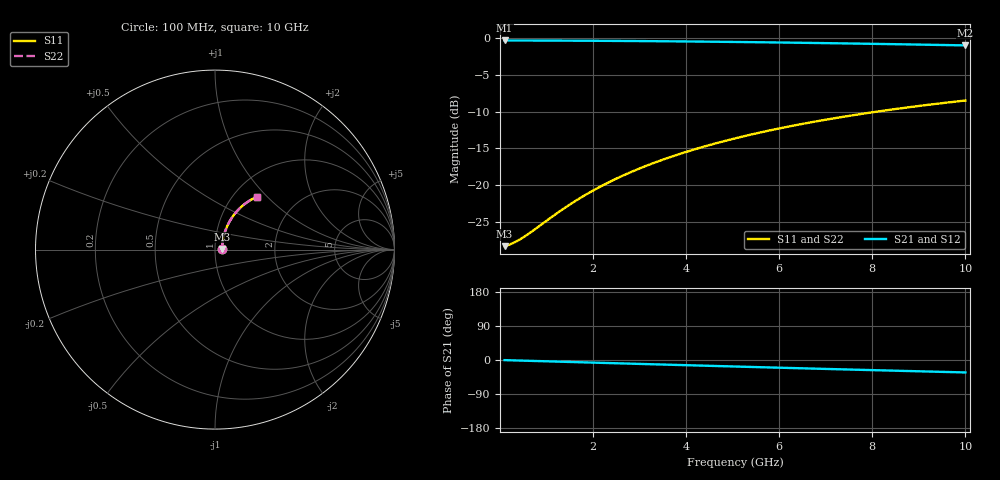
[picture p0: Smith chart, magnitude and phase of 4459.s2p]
# Hz S RI R 50.00
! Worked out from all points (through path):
!   100 points, 100 MHz to 10 GHz, reference 50 ohm
!   highest |S21| = -0.34 dB at 100 MHz (marker M1); lowest = -1.0 dB at 10 GHz (marker M2)
!   group delay of S21, straight-line fit = 9.15 ps
!   lowest |S11| = -28.3 dB at 100 MHz (marker M3), VSWR 1.08, Z = 54 + j0.426 ohm
!   |S11| at or under -10 dB: start of sweep to 8.116 GHz
!   |S22| runs from -28.3 to -8.5 dB; largest |S21 - S12| = 0
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1e8  0.0383 0.00394  0.9617 -0.0058  0.9617 -0.0058  0.0383 0.00394
2e8  0.0386 0.00787  0.9614 -0.0116  0.9614 -0.0116  0.0386 0.00787
3e8  0.0389 0.0118  0.9611 -0.0174  0.9611 -0.0174  0.0389 0.0118
5e8  0.0395 0.0196  0.9604 -0.029  0.9604 -0.029  0.0395 0.0196
7e8  0.0403 0.0275  0.9596 -0.0405  0.9596 -0.0405  0.0403 0.0275
1.3e9  0.0436 0.0507  0.9561 -0.075  0.9561 -0.075  0.0436 0.0507
1.6e9  0.0458 0.0623  0.9537 -0.0921  0.9537 -0.0921  0.0458 0.0623
1.8e9  0.0475 0.0699  0.9519 -0.1035  0.9519 -0.1035  0.0475 0.0699
2.2e9  0.0514 0.085  0.9477 -0.126  0.9477 -0.126  0.0514 0.085
2.6e9  0.056 0.0998  0.9428 -0.1483  0.9428 -0.1483  0.056 0.0998
3e9  0.0612 0.1144  0.9371 -0.1704  0.9371 -0.1704  0.0612 0.1144
3.4e9  0.0672 0.1286  0.9307 -0.1921  0.9307 -0.1921  0.0672 0.1286
3.8e9  0.0737 0.1425  0.9237 -0.2134  0.9237 -0.2134  0.0737 0.1425
4.2e9  0.0809 0.156  0.9159 -0.2344  0.9159 -0.2344  0.0809 0.156
4.6e9  0.0886 0.169  0.9076 -0.255  0.9076 -0.255  0.0886 0.169
5.1e9  0.0991 0.1847  0.8962 -0.2801  0.8962 -0.2801  0.0991 0.1847
5.9e9  0.1174 0.2083  0.8763 -0.3187  0.8763 -0.3187  0.1174 0.2083
6.7e9  0.1376 0.2297  0.8543 -0.3552  0.8543 -0.3552  0.1376 0.2297
7.5e9  0.1592 0.249  0.8306 -0.3896  0.8306 -0.3896  0.1592 0.249
8.4e9  0.1851 0.2679  0.8021 -0.4257  0.8021 -0.4257  0.1851 0.2679
9.2e9  0.209 0.2823  0.7755 -0.4553  0.7755 -0.4553  0.209 0.2823
1e10  0.2337 0.2943  0.748 -0.4826  0.748 -0.4826  0.2337 0.2943
